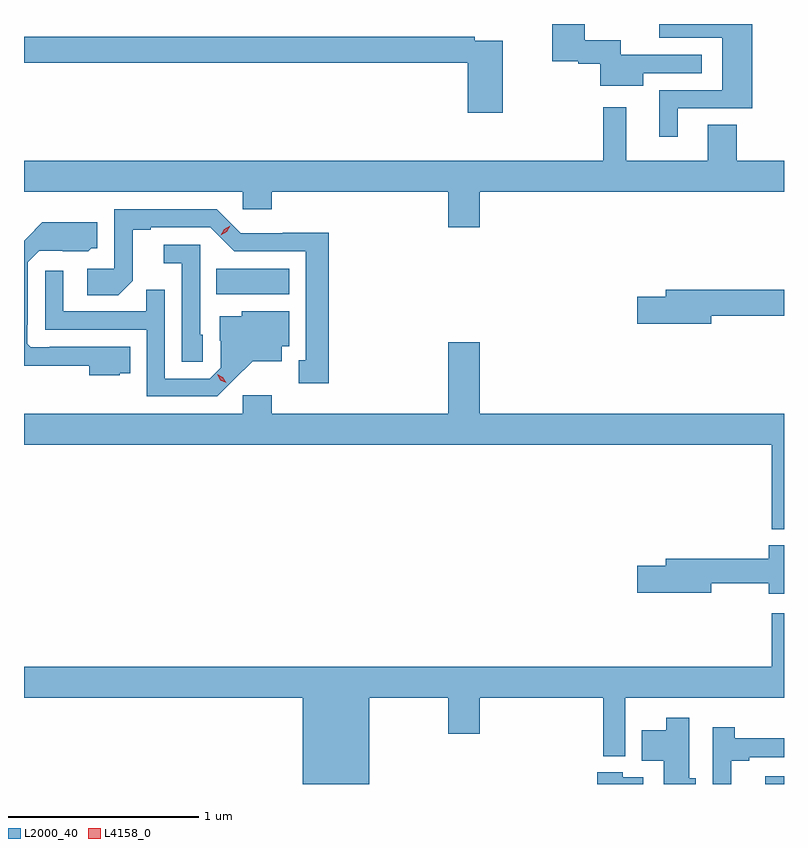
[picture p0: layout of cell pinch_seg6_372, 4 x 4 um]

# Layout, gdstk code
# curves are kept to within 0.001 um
import gdstk
lib = gdstk.Library(unit=1e-6, precision=1e-09)
def R(c, l, rs):  # rectangles x0, y0, x1, y1
    for r in rs: c.add(gdstk.rectangle(r[:2], r[2:], *l))
def P(c, l, *ps):  # polygons
    for p in ps: c.add(gdstk.Polygon(p, *l))
L2000_40 = (2000, 40)
L4158_0 = (4158, 0)

pinch_seg6_372 = lib.new_cell('pinch_seg6_372')
R(pinch_seg6_372, L2000_40, [(694.148,946.883,694.246,946.924), (691.258,949.46,691.642,949.594)])
P(pinch_seg6_372, L2000_40, [(693.688,950.439),(694.079,950.439),(694.079,950.883),(693.59,950.883),(693.59,950.81),(693.92,950.81),(693.92,950.535),(693.59,950.535),(693.59,950.289),(693.688,950.289)],
  [(693.505,950.625),(693.814,950.625),(693.814,950.721),(693.388,950.721),(693.388,950.797),(693.196,950.797),(693.196,950.883),(693.026,950.883),(693.026,950.687),(693.162,950.687),(693.162,950.675),(693.278,950.675),(693.278,950.558),(693.505,950.558)],
  [(692.765,950.796),(692.618,950.796),(692.618,950.816),(690.246,950.816),(690.246,950.68),(692.582,950.68),(692.582,950.415),(692.765,950.415)],
  [(692.644,950),(694.246,950),(694.246,950.164),(693.998,950.164),(693.998,950.354),(693.845,950.354),(693.845,950.164),(693.415,950.164),(693.415,950.446),(693.294,950.446),(693.294,950.164),(690.246,950.164),(690.246,950),(691.398,950),(691.398,949.907),(691.55,949.907),(691.55,950),(692.48,950),(692.48,949.812),(692.644,949.812)],
  [(691.849,949.784),(691.608,949.784),(691.608,949.782),(691.386,949.782),(691.26,949.908),(690.72,949.908),(690.72,949.596),(690.579,949.596),(690.579,949.456),(690.743,949.456),(690.819,949.532),(690.819,949.8),(690.913,949.8),(690.913,949.812),(691.227,949.812),(691.353,949.686),(691.73,949.686),(691.73,949.113),(691.691,949.113),(691.691,948.993),(691.849,948.993)],
  [(690.75,949.046),(690.806,949.046),(690.806,949.185),(690.382,949.185),(690.382,949.182),(690.282,949.182),(690.264,949.2),(690.264,949.3),(690.267,949.3),(690.267,949.629),(690.327,949.689),(690.584,949.688),(690.6,949.704),(690.631,949.704),(690.631,949.84),(690.343,949.84),(690.246,949.742),(690.246,949.085),(690.589,949.084),(690.589,949.034),(690.75,949.034)],
  [(691.188,949.248),(691.173,949.248),(691.173,949.722),(690.981,949.722),(690.981,949.625),(691.077,949.625),(691.077,949.105),(691.188,949.105)],
  [(691.348,949.007),(691.451,949.109),(691.603,949.109),(691.603,949.188),(691.642,949.188),(691.642,949.372),(691.392,949.372),(691.392,949.345),(691.277,949.345),(691.277,949.216),(691.281,949.216),(691.281,949.074),(691.224,949.017),(690.987,949.017),(690.987,949.484),(690.889,949.484),(690.889,949.371),(690.453,949.371),(690.453,949.585),(690.357,949.585),(690.357,949.275),(690.891,949.275),(690.891,948.924),(691.264,948.924)],
  [(693.862,949.348),(694.246,949.348),(694.246,949.484),(693.623,949.484),(693.623,949.448),(693.474,949.448),(693.474,949.306),(693.862,949.306)],
  [(694.246,948.832),(692.644,948.832),(692.644,949.207),(692.48,949.207),(692.48,948.832),(691.55,948.832),(691.55,948.928),(691.398,948.928),(691.398,948.832),(690.246,948.832),(690.246,948.668),(694.182,948.668),(694.182,948.224),(694.246,948.224)],
  [(694.246,948.139),(694.166,948.139),(694.166,948.068),(693.623,948.068),(693.623,948.032),(693.474,948.032),(693.474,947.89),(693.862,947.89),(693.862,947.94),(694.166,947.94),(694.166,947.885),(694.246,947.885)],
  [(692.062,947.336),(692.48,947.336),(692.48,947.148),(692.644,947.148),(692.644,947.336),(693.295,947.336),(693.295,947.03),(693.411,947.03),(693.411,947.336),(694.246,947.336),(694.246,947.782),(694.182,947.782),(694.182,947.5),(690.246,947.5),(690.246,947.336),(691.712,947.336),(691.712,946.883),(692.062,946.883)],
  [(693.781,946.914),(693.748,946.914),(693.748,947.233),(693.626,947.233),(693.626,947.167),(693.496,947.167),(693.496,947.006),(693.614,947.006),(693.614,946.883),(693.781,946.883)],
  [(693.968,947.005),(694.063,947.005),(694.063,947.025),(694.246,947.025),(694.246,947.123),(693.986,947.123),(693.986,947.182),(693.87,947.182),(693.87,946.883),(693.968,946.883)],
  [(693.505,946.918),(693.396,946.918),(693.396,946.945),(693.263,946.945),(693.263,946.883),(693.505,946.883)])
P(pinch_seg6_372, L4158_0, [(691.282,949.771),(691.282,949.771),(691.3,949.803),(691.332,949.821),(691.332,949.821),(691.332,949.821),(691.314,949.789),(691.282,949.771)],
  [(691.31,948.994),(691.28,949.009),(691.263,949.039),(691.263,949.039),(691.263,949.039),(691.293,949.024),(691.311,948.994),(691.311,948.994)])

lib.write_gds('pinch_seg6_372.gds')
